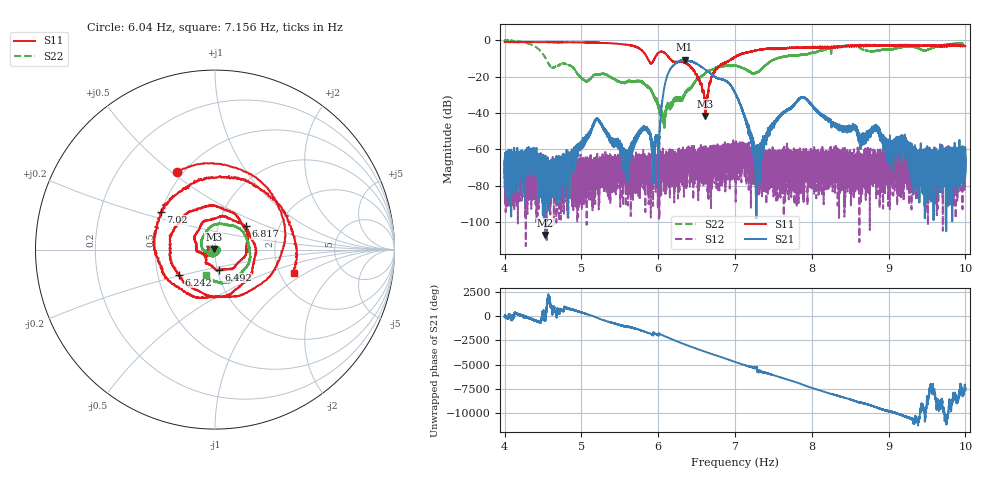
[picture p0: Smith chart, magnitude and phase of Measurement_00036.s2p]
!Created with skrf (http://scikit-rf.org).
# Hz S RI R 50.0
!freq ReS11 ImS11 ReS21 ImS21 ReS12 ImS12 ReS22 ImS22
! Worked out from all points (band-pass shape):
!   14001 points, 4 Hz to 10 Hz, reference 50 ohm
!   highest |S21| = -10.75 dB at 6.344 Hz (marker M1); lowest = -107.1 dB at 4.528 Hz (marker M2)
!   |S21| within 3 dB of the highest: 6.201 Hz to 6.53 Hz (328.5 mHz wide, 5.16 % of centre); 6.529908 Hz to 6.531001 Hz (1.093 mHz wide, 0.0167 % of centre)
!   lowest |S11| = -41.8 dB at 6.61 Hz (marker M3), VSWR 1.02, Z = 49.3 + j0.397 ohm
!   |S11| at or under -10 dB: 5.862 Hz to 5.953 Hz (91.31 mHz wide, 1.55 % of centre); 6.147 Hz to 6.966 Hz (818.6 mHz wide, 12.5 % of centre); 6.975274 Hz to 6.976627 Hz (1.352 mHz wide, 0.0194 % of centre)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
!   |S22| runs from -48.3 to -0.2 dB; largest |S21 - S12| = 0.29
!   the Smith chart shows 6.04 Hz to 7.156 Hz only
!   S11 on the Smith chart (normalised r, x): 6.04 Hz: 0.47, +0.52; 6.242 Hz: 0.64, -0.19; 6.492 Hz: 1.02, -0.23; 6.817 Hz: 1.35, +0.37; 7.02 Hz: 0.50, +0.24; 7.156 Hz: 2.38, -0.79
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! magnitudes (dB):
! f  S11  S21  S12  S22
! 4 Hz  -1.1  -66.5  -73.8  -0.2
! 4.528 Hz  -1.1  -107.1  -85.3  -9.5
! 5 Hz  -1.3  -55.5  -75.6  -20.7
! 5.202 Hz  -1.4  -43.1  -69.2  -18.8
! 5.586 Hz  -2.5  -62.2  -67.4  -23.0
! 5.797 Hz  -6.0  -48.3  -75.9  -23.8
! 6 Hz  -7.1  -58.2  -64.5  -35.7
! 6.04 Hz  -6.4  -38.3  -71.2  -39.3
! 6.114 Hz  -8.2  -20.1  -66.3  -37.6
! 6.242 Hz  -12.3  -12.4  -62.8  -32.6
! 6.344 Hz  -12.1  -10.7  -60.9  -30.6
! 6.492 Hz  -18.9  -12.8  -66.1  -22.3
! 6.61 Hz  -41.8  -16.1  -63.2  -18.1
! 6.817 Hz  -13.3  -21.5  -58.4  -14.4
! 7 Hz  -9.3  -29.1  -63.3  -14.0
! 7.02 Hz  -8.7  -30.7  -72.6  -14.1
! 7.156 Hz  -6.8  -46.6  -66.2  -16.6
! 7.296 Hz  -5.4  -61.6  -70.5  -17.6
! 7.596 Hz  -4.6  -41.1  -64.8  -9.4
! 8 Hz  -4.2  -35.7  -70.2  -6.8
! 9 Hz  -3.0  -61.2  -71.7  -5.1
! 10 Hz  -3.4  -63.9  -64.4  -3.0
